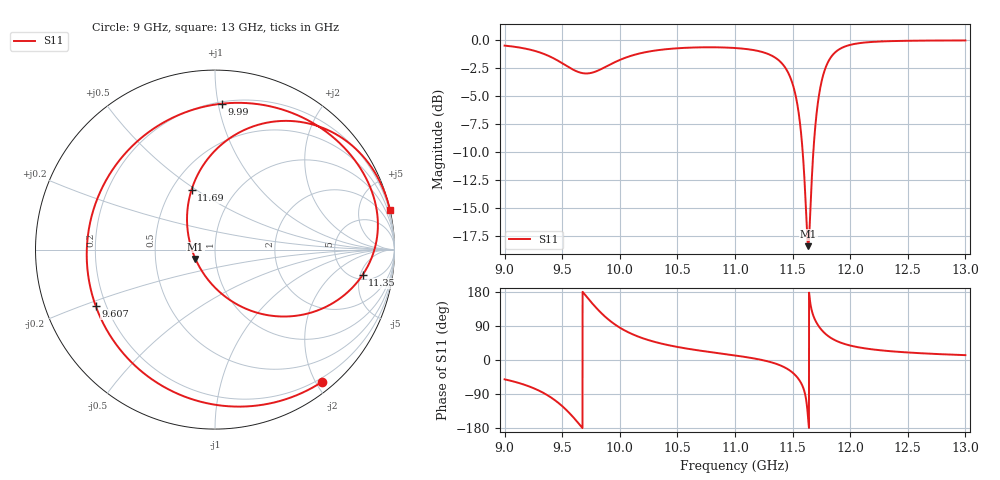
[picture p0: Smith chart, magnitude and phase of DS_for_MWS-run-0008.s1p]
! TOUCHSTONE file generated by CST DESIGN STUDIO
! Date and time: Tue Feb  4 16:47:17 2025
! Project name: C:\Work\MatlabApps\UnitCellOptimizationMatlab\CST\unitcell.cst
! Tree item: Tasks\Sweep1\SPara1\S-Parameters
! Header version: 2024
! Port assignment regex: !\s*Touchstone port\s*([0-9]+)\s*=\s*(CST MWS port|CST DES external port|CST DES block port)\s*(.+)\s* \(\"(.*)\"\)(\s*mode\s*([0-9]+))?.*
! Touchstone port assignment:
! Touchstone port 1 = CST DES external port 1 ("")
# GHz S MA R 50
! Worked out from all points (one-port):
!   4001 points, 9 GHz to 13 GHz, reference 50 ohm
!   lowest |S11| = -18.4 dB at 11.63 GHz (marker M1), VSWR 1.27, Z = 40 - j4.19 ohm
!   |S11| at or under -10 dB: 11.59 GHz to 11.68 GHz (91.77 MHz wide, 0.789 % of centre)
!   S11 on the Smith chart (normalised r, x): 9 GHz: 0.14, -2.09; 9.607 GHz: 0.16, -0.22; 9.99 GHz: 0.21, +1.03; 11.35 GHz: 5.90, -5.49; 11.69 GHz: 0.63, +0.48; 13 GHz: 0.02, +8.91
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9  0.948 -51.0
9.169  0.9215 -65.0
9.321  0.878 -84.3
9.417  0.8361 -101.8
9.5  0.7912 -121.7
9.607  0.735 -154.8
9.707  0.7119 168.9
9.817  0.7359 130.7
9.899  0.7725 107.4
9.99  0.8139 87.3
10  0.8181 85.4
10.22  0.8855 55.3
10.5  0.9223 34.4
11  0.9249 12.0
11.354  0.8344 -9.7
11.435  0.7573 -20.1
11.5  0.6397 -33.3
11.574  0.3835 -60.9
11.635  0.1207 -154.7
11.65  0.1552 158.4
11.687  0.3579 111.4
11.736  0.5981 85.3
11.79  0.7641 67.7
11.883  0.8964 50.1
12  0.9552 38.2
12.191  0.9845 28.1
12.5  0.9962 19.9
13  0.9995 12.8
